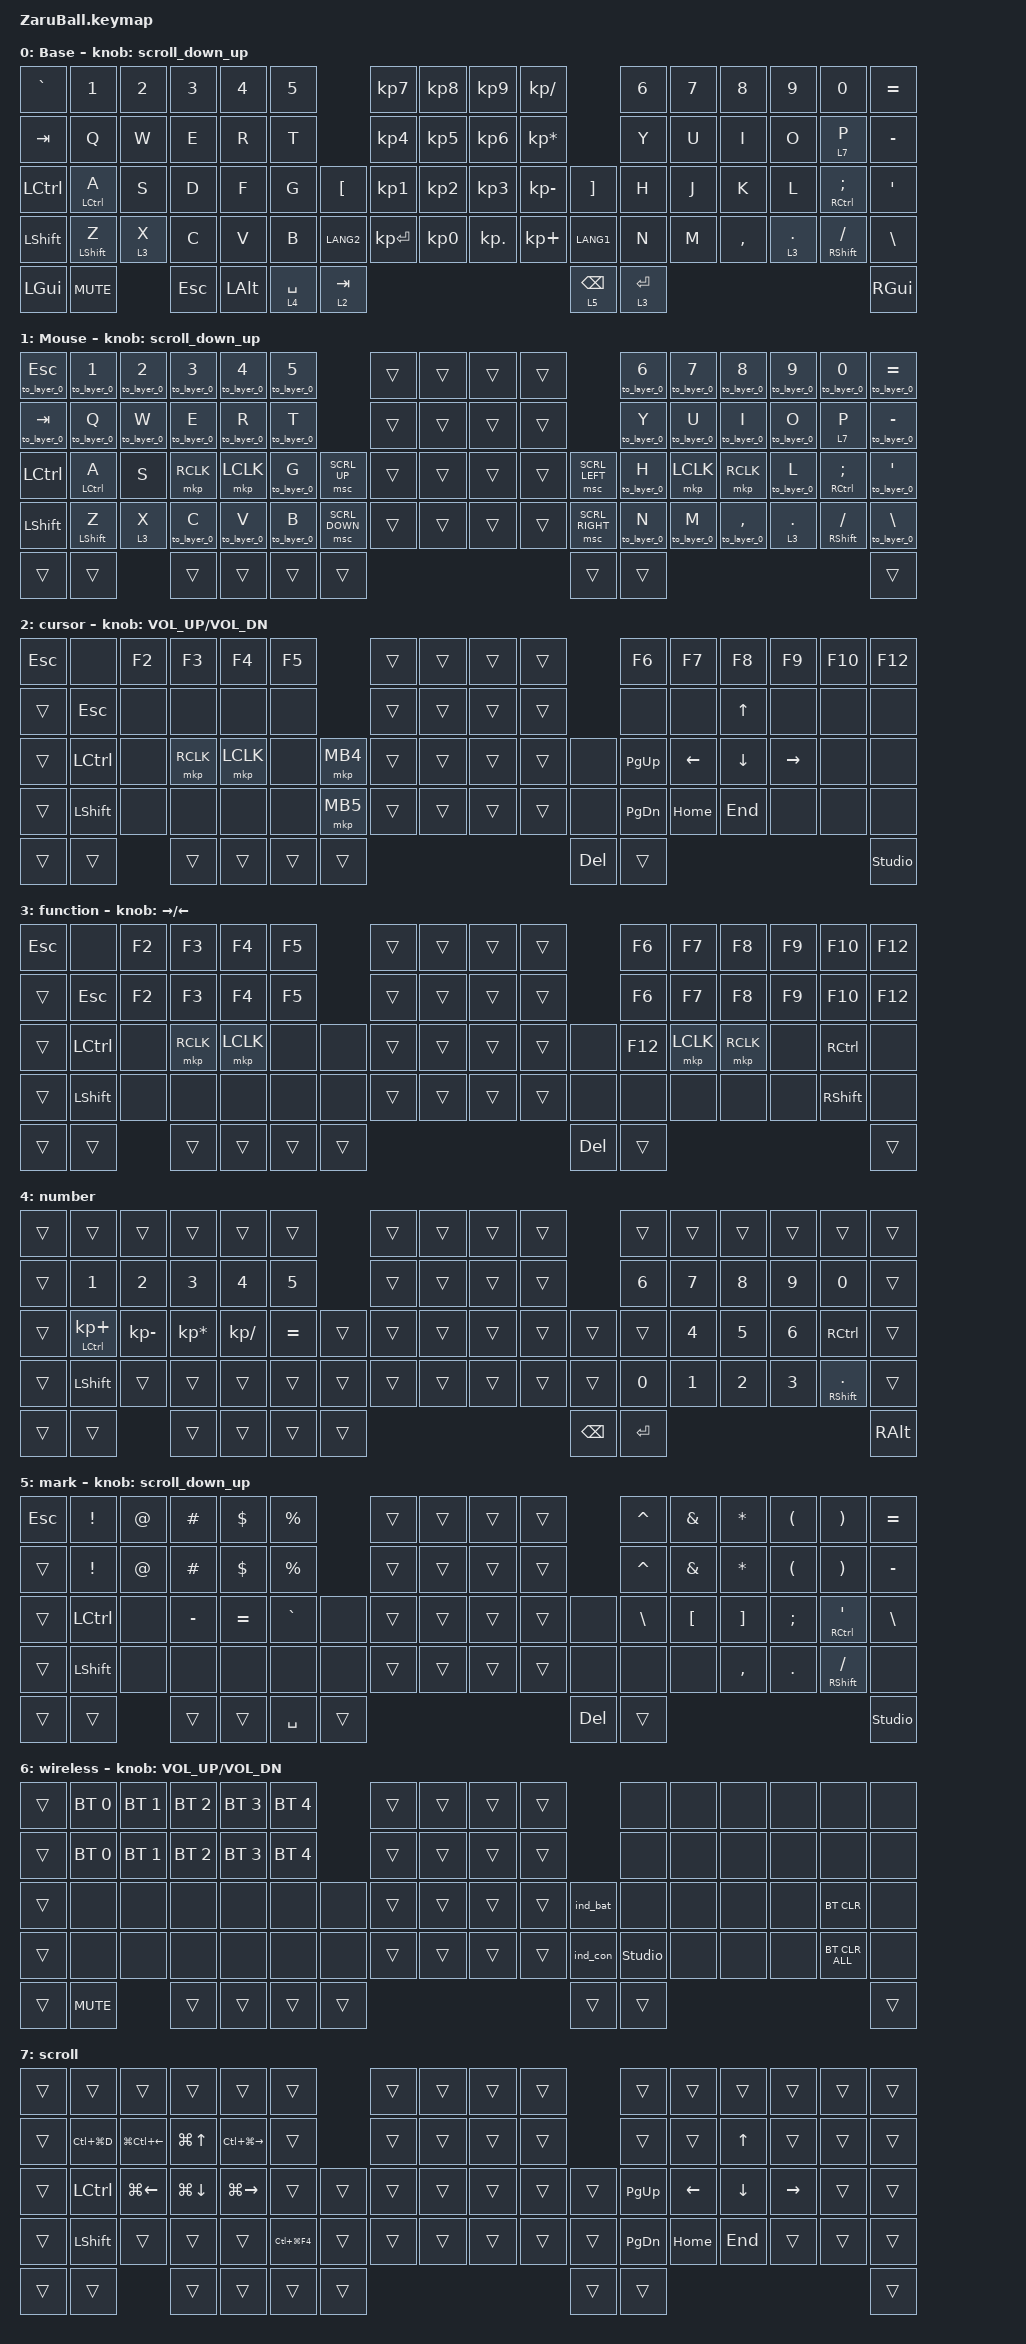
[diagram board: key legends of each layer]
//#include <dt-bindings/zmk/mouse.h>

#include <behaviors/rgbled_widget.dtsi>
#include <input/processors.dtsi>
#include <dt-bindings/zmk/input_transform.h>
#include <behaviors.dtsi>
#include <dt-bindings/zmk/bt.h>
#include <dt-bindings/zmk/keys.h>
#include <dt-bindings/zmk/pointing.h>

#define BASE     0
#define MOUSE    1
#define CURSOR   2
#define FUNCTION 3
#define NUMBER   4
#define MARK     5
#define WIRELESS 6
#define SCROLL   7

// スクロール量の設定

#define ZMK_POINTING_DEFAULT_SCRL_VAL 100

&trackball_listener {
    input-processors = <
                         &zip_xy_transform (INPUT_TRANSFORM_XY_SWAP | INPUT_TRANSFORM_Y_INVERT | INPUT_TRANSFORM_X_INVERT)
                         &zip_temp_layer MOUSE 600
    >;

    precision_mode {
        layers = <NUMBER>;
        input-processors = <
                         &zip_xy_transform (INPUT_TRANSFORM_XY_SWAP | INPUT_TRANSFORM_Y_INVERT | INPUT_TRANSFORM_X_INVERT)
                         &zip_xy_scaler_precision 1 3
        >;
    };

    scroller {
        layers = <CURSOR SCROLL>;
        input-processors = <
                            &zip_xy_transform (INPUT_TRANSFORM_XY_SWAP | INPUT_TRANSFORM_X_INVERT)
                            &zip_xy_scaler 1 20
                            &zip_xy_to_scroll_mapper
        >;
    };
};

/ {
    conditional_layers {
        compatible = "zmk,conditional-layers";

        tri_layer {
            if-layers = <2 3>;
            then-layer = <6>;
        };
    };
};

/ {
    input_processors {
        /* 精密操作用のスケーラー：track-remaindersを外し、切り替え時の応答性を向上 */

        zip_xy_scaler_precision: zip_xy_scaler_precision {
            compatible = "zmk,input-processor-scaler";
            #input-processor-cells = <2>;
            type = <INPUT_EV_REL>;
            codes = <INPUT_REL_X>, <INPUT_REL_Y>;
        };
    };
};

/ {
    behaviors {
        // スクロール用のbehaviorの設定

        scroll_down_up: behavior_sensor_rotate_mouse_wheel_down_up {
            compatible = "zmk,behavior-sensor-rotate";
            #sensor-binding-cells = <0>;
            bindings = <&msc SCRL_UP>, <&msc SCRL_DOWN>;

            tap-ms = <20>; // スクロールのタップ時間
        };

        td0: tap_dance_0 {
            compatible = "zmk,behavior-tap-dance";
            #binding-cells = <0>;
            tapping-term-ms = <200>;
            bindings = <&mt LALT LANG2>, <&mo 3>, <&mo 1>;
        };

        td1: tap_dance_1 {
            compatible = "zmk,behavior-tap-dance";
            #binding-cells = <0>;
            tapping-term-ms = <200>;
            bindings = <&mt RCTL LANG1>, <&mo 3>, <&mo 1>;
        };

        // Customed Hold-Tap for SandS

        SandS: SandS {
            compatible = "zmk,behavior-hold-tap";
            #binding-cells = <2>;
            flavor = "tap-unless-interrupted";
            tapping-term-ms = <500>;
            quick-tap-ms = <500>;
            bindings = <&kp>, <&kp>;

            display-name = "SandS";
        };

        baseAndS: baseAndS {
            compatible = "zmk,behavior-hold-tap";
            #binding-cells = <2>;
            flavor = "tap-preferred";
            tapping-term-ms = <280>;
            quick-tap-ms = <280>;
            bindings = <&kp>, <&kp>;

            display-name = "SandS";
            label = "BASEANDS";
        };
    };
};

&sl { release-after-ms = <250>; }; // time needed for double click (for mkp_exit_AML)
/ {
    macros {
        // When in AML, move to default layer when key (except mouse button) pressed

        to_layer_0: to_layer_0 {
            compatible = "zmk,behavior-macro-one-param";
            #binding-cells = <1>;
            bindings = <&tog 1 &macro_param_1to1 &kp MACRO_PLACEHOLDER>;
            label = "TO_layer_0";
        };

        // When LCLK pressed, exit AML (after 250ms cause by sticky layer

        mkp_exit_AML: mkp_exit_AML {
            compatible = "zmk,behavior-macro-one-param";
            #binding-cells = <1>;
            bindings =
                <&macro_press>,
                <&macro_param_1to1 &mkp MACRO_PLACEHOLDER>,
                <&macro_pause_for_release>,
                <&macro_release>,
                <&macro_param_1to1 &mkp MACRO_PLACEHOLDER>,
                <&macro_tap>,
                <&sl 1>;

            label = "MKP_EXIT_AML";
        };
    };
};

/ {
    combos {
        compatible = "zmk,combos";

        left_click {
            bindings = <&mkp LCLK>;
            key-positions = <45 46>;
            layers = <0 4>;
        };

        right_click {
            bindings = <&mkp RCLK>;
            key-positions = <46 47>;
            layers = <0 4>;
        };

        bs {
            bindings = <&kp BACKSPACE>;
            key-positions = <29 30>;
        };

        lang1 {
            bindings = <&kp LANG1>;
            key-positions = <28 29>;
        };

        lang2 {
            bindings = <&kp LANG2>;
            key-positions = <18 19>;
        };
    };

    keymap {
        compatible = "zmk,keymap";

        base_layer {
            display-name = "Base";
            sensor-bindings = <&scroll_down_up>;
            bindings = <
&kp GRAVE         &kp N1                    &kp N2   &kp N3      &kp N4        &kp N5                           &kp KP_N7     &kp KP_N8  &kp KP_N9   &kp KP_DIVIDE                         &kp NUMBER_6  &kp N7  &kp N8     &kp N9        &kp N0                        &kp EQUAL
&kp TAB           &kp Q                     &kp W    &kp E       &kp R         &kp T                            &kp KP_N4     &kp KP_N5  &kp KP_N6   &kp KP_MULTIPLY                       &kp Y         &kp U   &kp I      &kp O         &lt 7 P                       &kp MINUS
&kp LEFT_CONTROL  &baseAndS LEFT_CONTROL A  &kp S    &kp D       &kp F         &kp G        &kp LEFT_BRACKET    &kp KP_N1     &kp KP_N2  &kp KP_N3   &kp KP_MINUS       &kp RIGHT_BRACKET  &kp H         &kp J   &kp K      &kp L         &baseAndS RIGHT_CONTROL SEMI  &kp SQT
&kp LSHFT         &baseAndS LEFT_SHIFT Z    &lt 3 X  &kp C       &kp V         &kp B        &kp LANG2           &kp KP_ENTER  &kp KP_N0  &kp KP_DOT  &kp KP_PLUS        &kp LANG1          &kp N         &kp M   &kp COMMA  &lt 3 PERIOD  &baseAndS RIGHT_SHIFT SLASH   &kp BACKSLASH
&kp LEFT_GUI      &kp C_MUTE                         &kp ESCAPE  &kp LEFT_ALT  &lt 4 SPACE  &lt 2 TAB                                                                   &lt 5 BACKSPACE    &lt 3 ENTER                                                                  &kp RIGHT_GUI
            >;
        };

        mouse_layer {
            display-name = "Mouse";
            sensor-bindings = <&scroll_down_up>;
            bindings = <
&to_layer_0 ESC   &to_layer_0 N1            &to_layer_0 N2  &to_layer_0 N3  &to_layer_0 N4  &to_layer_0 N5                    &trans  &trans  &trans  &trans                     &to_layer_0 N6  &to_layer_0 N7  &to_layer_0 N8     &to_layer_0 N9  &to_layer_0 N0                     &to_layer_0 EQUAL
&to_layer_0 TAB   &to_layer_0 Q             &to_layer_0 W   &to_layer_0 E   &to_layer_0 R   &to_layer_0 T                     &trans  &trans  &trans  &trans                     &to_layer_0 Y   &to_layer_0 U   &to_layer_0 I      &to_layer_0 O   &lt 7 P                            &to_layer_0 MINUS
&kp LEFT_CONTROL  &baseAndS LEFT_CONTROL A  &kp S           &mkp RCLK       &mkp LCLK       &to_layer_0 G   &msc SCRL_UP      &trans  &trans  &trans  &trans    &msc SCRL_LEFT   &to_layer_0 H   &mkp LCLK       &mkp RCLK          &to_layer_0 L   &baseAndS RIGHT_CONTROL SEMICOLON  &to_layer_0 SINGLE_QUOTE
&kp LSHIFT        &baseAndS LEFT_SHIFT Z    &lt 3 X         &to_layer_0 C   &to_layer_0 V   &to_layer_0 B   &msc SCRL_DOWN    &trans  &trans  &trans  &trans    &msc SCRL_RIGHT  &to_layer_0 N   &to_layer_0 M   &to_layer_0 COMMA  &lt 3 PERIOD    &baseAndS RIGHT_SHIFT SLASH        &to_layer_0 BACKSLASH
&trans            &trans                                    &trans          &trans          &trans          &trans                                              &trans           &trans                                                                                                &trans
            >;
        };

        cursor {
            display-name = "cursor";
            sensor-bindings = <&inc_dec_kp C_VOL_UP C_VOL_DN>;
            bindings = <
&kp ESCAPE  &none             &kp F2  &kp F3     &kp F4     &kp F5              &trans  &trans  &trans  &trans                &kp F6         &kp F7    &kp F8          &kp F9           &kp F10  &kp F12
&trans      &kp ESCAPE        &none   &none      &none      &none               &trans  &trans  &trans  &trans                &none          &none     &kp UP_ARROW    &none            &none    &none
&trans      &kp LEFT_CONTROL  &none   &mkp RCLK  &mkp LCLK  &none   &mkp MB4    &trans  &trans  &trans  &trans    &none       &kp PAGE_UP    &kp LEFT  &kp DOWN_ARROW  &kp RIGHT_ARROW  &none    &none
&trans      &kp LEFT_SHIFT    &none   &none      &none      &none   &mkp MB5    &trans  &trans  &trans  &trans    &none       &kp PAGE_DOWN  &kp HOME  &kp END         &none            &none    &none
&trans      &trans                    &trans     &trans     &trans  &trans                                        &kp DELETE  &trans                                                             &studio_unlock
            >;
        };

        function {
            display-name = "function";
            sensor-bindings = <&inc_dec_kp RIGHT LEFT>;
            bindings = <
&kp ESCAPE  &none             &kp F2  &kp F3     &kp F4     &kp F5            &trans  &trans  &trans  &trans                &kp F6   &kp F7     &kp F8     &kp F9  &kp F10            &kp F12
&trans      &kp ESCAPE        &kp F2  &kp F3     &kp F4     &kp F5            &trans  &trans  &trans  &trans                &kp F6   &kp F7     &kp F8     &kp F9  &kp F10            &kp F12
&trans      &kp LEFT_CONTROL  &none   &mkp RCLK  &mkp LCLK  &none   &none     &trans  &trans  &trans  &trans    &none       &kp F12  &mkp LCLK  &mkp RCLK  &none   &kp RIGHT_CONTROL  &none
&trans      &kp LEFT_SHIFT    &none   &none      &none      &none   &none     &trans  &trans  &trans  &trans    &none       &none    &none      &none      &none   &kp RIGHT_SHIFT    &none
&trans      &trans                    &trans     &trans     &trans  &trans                                      &kp DELETE  &trans                                                    &trans
            >;
        };

        number {
            bindings = <
&trans  &trans                          &trans        &trans           &trans        &trans                  &trans  &trans  &trans  &trans                   &trans        &trans        &trans        &trans        &trans                     &trans
&trans  &kp NUMBER_1                    &kp NUMBER_2  &kp NUMBER_3     &kp NUMBER_4  &kp NUMBER_5            &trans  &trans  &trans  &trans                   &kp NUMBER_6  &kp NUMBER_7  &kp NUMBER_8  &kp NUMBER_9  &kp NUMBER_0               &trans
&trans  &baseAndS LEFT_CONTROL KP_PLUS  &kp KP_MINUS  &kp KP_MULTIPLY  &kp KP_SLASH  &kp EQUAL     &trans    &trans  &trans  &trans  &trans    &trans         &trans        &kp NUMBER_4  &kp NUMBER_5  &kp NUMBER_6  &kp RIGHT_CONTROL          &trans
&trans  &kp LEFT_SHIFT                  &trans        &trans           &trans        &trans        &trans    &trans  &trans  &trans  &trans    &trans         &kp NUMBER_0  &kp NUMBER_1  &kp NUMBER_2  &kp NUMBER_3  &baseAndS RIGHT_SHIFT DOT  &trans
&trans  &trans                                        &trans           &trans        &trans        &trans                                      &kp BACKSPACE  &kp ENTER                                                                          &kp RIGHT_ALT
            >;
        };

        mark {
            display-name = "mark";
            sensor-bindings = <&scroll_down_up>;
            bindings = <
&kp ESCAPE  &kp EXCLAMATION   &kp AT_SIGN  &kp HASH   &kp DOLLAR  &kp PERCENT            &trans  &trans  &trans  &trans                &kp CARET      &kp AMPERSAND     &kp ASTERISK       &kp LEFT_PARENTHESIS  &kp RIGHT_PARENTHESIS                 &kp EQUAL
&trans      &kp EXCLAMATION   &kp AT_SIGN  &kp HASH   &kp DOLLAR  &kp PERCENT            &trans  &trans  &trans  &trans                &kp CARET      &kp AMPERSAND     &kp ASTERISK       &kp LEFT_PARENTHESIS  &kp RIGHT_PARENTHESIS                 &kp MINUS
&trans      &kp LEFT_CONTROL  &none        &kp MINUS  &kp EQUAL   &kp GRAVE    &none     &trans  &trans  &trans  &trans    &none       &kp BACKSLASH  &kp LEFT_BRACKET  &kp RIGHT_BRACKET  &kp SEMICOLON         &baseAndS RIGHT_CONTROL SINGLE_QUOTE  &kp BACKSLASH
&trans      &kp LEFT_SHIFT    &none        &none      &none       &none        &none     &trans  &trans  &trans  &trans    &none       &none          &none             &kp COMMA          &kp PERIOD            &baseAndS RIGHT_SHIFT SLASH           &none
&trans      &trans                         &trans     &trans      &kp SPACE    &trans                                      &kp DELETE  &trans                                                                                                          &studio_unlock
            >;
        };

        wireless {
            display-name = "wireless";
            sensor-bindings = <&inc_dec_kp C_VOL_UP C_VOL_DN>;
            bindings = <
&trans  &bt BT_SEL 0  &bt BT_SEL 1  &bt BT_SEL 2  &bt BT_SEL 3  &bt BT_SEL 4            &trans  &trans  &trans  &trans              &none           &none  &none  &none  &none           &none
&trans  &bt BT_SEL 0  &bt BT_SEL 1  &bt BT_SEL 2  &bt BT_SEL 3  &bt BT_SEL 4            &trans  &trans  &trans  &trans              &none           &none  &none  &none  &none           &none
&trans  &none         &none         &none         &none         &none         &none     &trans  &trans  &trans  &trans    &ind_bat  &none           &none  &none  &none  &bt BT_CLR      &none
&trans  &none         &none         &none         &none         &none         &none     &trans  &trans  &trans  &trans    &ind_con  &studio_unlock  &none  &none  &none  &bt BT_CLR_ALL  &none
&trans  &kp C_MUTE                  &trans        &trans        &trans        &trans                                      &trans    &trans                                               &trans
            >;
        };

        scroll {
            bindings = <
&trans  &trans            &trans                  &trans              &trans                   &trans                    &trans  &trans  &trans  &trans            &trans         &trans          &trans          &trans           &trans  &trans
&trans  &kp LC(LG(D))     &kp LG(LC(LEFT_ARROW))  &kp LG(UP_ARROW)    &kp LC(LG(RIGHT_ARROW))  &trans                    &trans  &trans  &trans  &trans            &trans         &trans          &kp UP_ARROW    &trans           &trans  &trans
&trans  &kp LEFT_CONTROL  &kp LG(LEFT_ARROW)      &kp LG(DOWN_ARROW)  &kp LG(RIGHT_ARROW)      &trans          &trans    &trans  &trans  &trans  &trans    &trans  &kp PAGE_UP    &kp LEFT_ARROW  &kp DOWN_ARROW  &kp RIGHT_ARROW  &trans  &trans
&trans  &kp LEFT_SHIFT    &trans                  &trans              &trans                   &kp LC(LG(F4))  &trans    &trans  &trans  &trans  &trans    &trans  &kp PAGE_DOWN  &kp HOME        &kp END         &trans           &trans  &trans
&trans  &trans                                    &trans              &trans                   &trans          &trans                                      &trans  &trans                                                                  &trans
            >;
        };
    };
};
